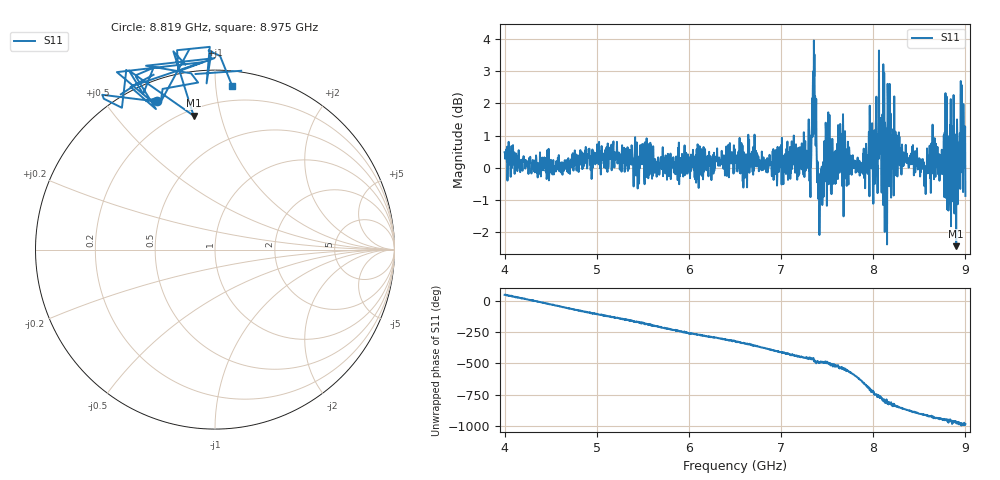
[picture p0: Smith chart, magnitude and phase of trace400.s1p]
! Created with skrf 1.8.0 (http://scikit-rf.org).
# Hz S RI R 50.0
!freq ReS11 ImS11
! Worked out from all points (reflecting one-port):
!   1601 points, 4 GHz to 9 GHz, reference 50 ohm
!   lowest |S11| = -2.4 dB at 8.9 GHz (marker M1), VSWR 7.18, Z = 11.9 + j41.2 ohm
!   phase of S11 starts at 51 deg and turns -1038 deg over the sweep
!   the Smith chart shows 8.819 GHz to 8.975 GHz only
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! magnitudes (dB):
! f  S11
! 4 GHz  0.5
! 4.625 GHz  -0.1
! 5.25 GHz  -0.1
! 5.875 GHz  -0.1
! 6.5 GHz  0.3
! 7.125 GHz  0.5
! 7.303 GHz  -0.1
! 7.356 GHz  4.0
! 7.381 GHz  2.1
! 7.4 GHz  0.1
! 7.428 GHz  -0.4
! 7.509 GHz  0.5
! 7.566 GHz  -0.5
! 7.662 GHz  -0.6
! 7.75 GHz  -0.1
! 7.894 GHz  -0.2
! 7.969 GHz  0.5
! 8 GHz  -1.1
! 8.088 GHz  0.6
! 8.128 GHz  1.4
! 8.181 GHz  1.0
! 8.197 GHz  -0.1
! 8.375 GHz  0.3
! 8.556 GHz  -0.6
! 8.788 GHz  -0.2
! 8.9 GHz  -2.4
! 8.972 GHz  0.7
! 9 GHz  -0.9
